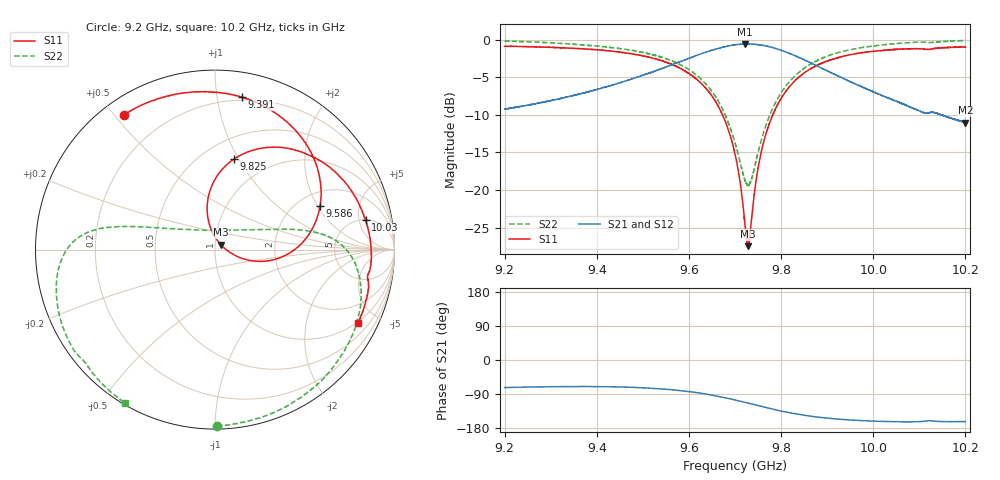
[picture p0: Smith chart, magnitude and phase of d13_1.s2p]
!Agilent Technologies,N5242A,MY51221714,A.09.90.19
!Agilent N5242A: A.09.90.19
!Date: Saturday, March 16, 2024 08:41:21
!Correction: S11(Full 2 Port(1,2))
!S21(Full 2 Port(1,2))
!S12(Full 2 Port(1,2))
!S22(Full 2 Port(1,2))
!S2P File: Measurements: S11, S21, S12, S22:
# Hz S  dB  R 50
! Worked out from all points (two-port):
!   16001 points, 9.2 GHz to 10.2 GHz, reference 50 ohm
!   highest |S21| = -0.55 dB at 9.722 GHz (marker M1); lowest = -11.0 dB at 10.2 GHz (marker M2)
!   |S21| within 3 dB of the highest: 9.553 GHz to 9.88 GHz (327 MHz wide, 3.37 % of centre); 9.880179 GHz to 9.880193 GHz (14.07 kHz wide, 0.000142 % of centre)
!   lowest |S11| = -27.5 dB at 9.728 GHz (marker M3), VSWR 1.09, Z = 53.3 + j2.86 ohm
!   |S11| at or under -10 dB: 9.673 GHz to 9.782 GHz (109.1 MHz wide, 1.12 % of centre); 9.781958 GHz to 9.782002 GHz (43.64 kHz wide, 0.000446 % of centre)
!   |S22| runs from -19.5 to -0.1 dB; largest |S21 - S12| = 0.0089
!   S11 on the Smith chart (normalised r, x): 9.2 GHz: 0.06, +0.53; 9.391 GHz: 0.18, +1.18; 9.586 GHz: 2.60, +2.10; 9.825 GHz: 0.70, +0.95; 10.03 GHz: 5.09, +6.22; 10.2 GHz: 0.95, -3.91
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9.2e9  -0.87 123.9  -9.24 -72.8  -9.23 -73.1  -0.14 -89.3
9.279562e9  -0.97 106.2  -8.35 -71.0  -8.35 -71.2  -0.34 -67.0
9.366688e9  -1.20 86.0  -7.16 -70.0  -7.15 -70.4  -0.67 -43.6
9.390688e9  -1.30 80.0  -6.78 -70.0  -6.77 -70.5  -0.79 -37.3
9.461125e9  -1.73 61.5  -5.51 -71.6  -5.51 -71.9  -1.26 -20.1
9.533375e9  -2.63 40.3  -4.00 -75.6  -4.00 -76.0  -2.18 -4.8
9.58625e9  -3.97 22.5  -2.79 -81.4  -2.78 -81.7  -3.47 4.6
9.6575e9  -8.18 -5.0  -1.26 -94.4  -1.26 -94.7  -7.54 15.6
9.7e9  -15.18 -17.9  -0.67 -105.5  -0.66 -105.9  -13.74 32.1
9.721938e9  -24.71 3.0  -0.55 -111.9  -0.56 -112.3  -18.80 69.6
9.727875e9  -27.48 39.3  -0.56 -113.7  -0.55 -114.1  -19.42 88.4
9.749062e9  -17.46 102.0  -0.63 -120.2  -0.63 -120.5  -15.30 140.1
9.765125e9  -12.94 101.1  -0.80 -124.9  -0.79 -125.4  -11.77 153.4
9.790688e9  -8.84 92.5  -1.20 -132.2  -1.20 -132.6  -8.05 161.6
9.824812e9  -5.77 78.3  -1.98 -140.6  -1.97 -140.9  -5.14 166.7
9.866688e9  -3.77 61.6  -3.15 -148.7  -3.14 -149.0  -3.14 171.4
9.950438e9  -1.98 33.1  -5.58 -158.4  -5.59 -158.7  -1.32 -175.9
1.002969e10  -1.36 11.1  -7.68 -162.3  -7.68 -162.6  -0.61 -160.3
1.003338e10  -1.35 10.2  -7.79 -162.4  -7.78 -162.7  -0.59 -159.5
1.010562e10  -1.21 -7.6  -9.61 -162.2  -9.61 -162.6  -0.30 -143.8
1.019994e10  -0.97 -27.2  -11.03 -162.3  -11.01 -162.8  -0.09 -120.4
1.02e10  -0.96 -27.3  -11.02 -162.4  -11.02 -162.8  -0.09 -120.3
